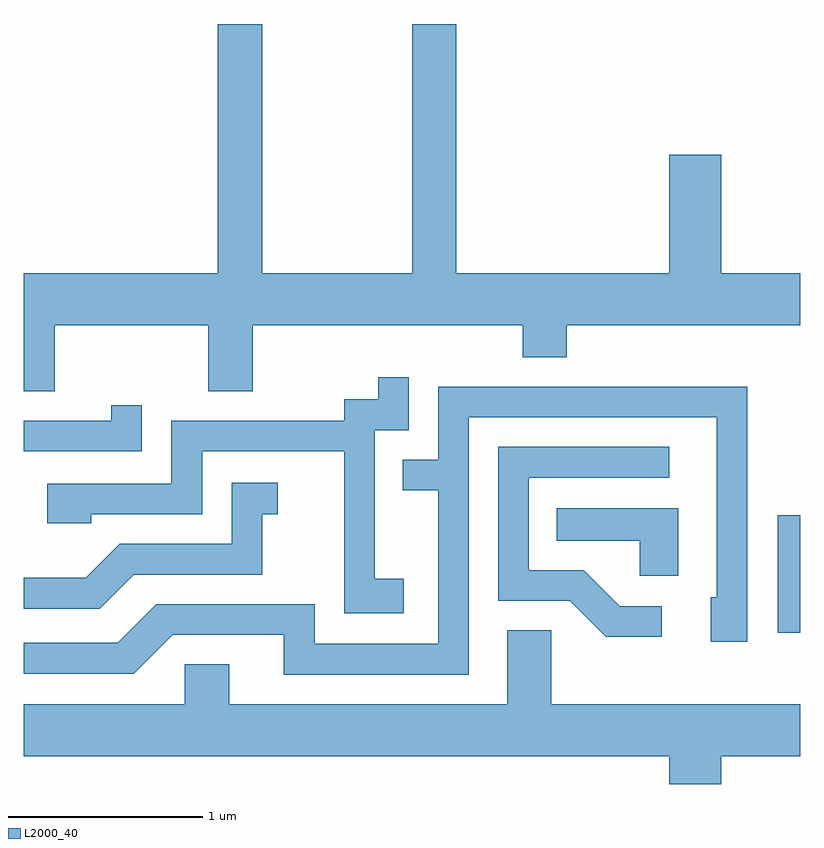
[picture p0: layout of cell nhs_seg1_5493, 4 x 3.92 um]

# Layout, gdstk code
import gdstk
lib = gdstk.Library(unit=1e-6, precision=1e-09)
def R(c, l, rs):  # rectangles x0, y0, x1, y1
    for r in rs: c.add(gdstk.rectangle(r[:2], r[2:], *l))
def P(c, l, *ps):  # polygons
    for p in ps: c.add(gdstk.Polygon(p, *l))
L2000_40 = (2000, 40)

nhs_seg1_5493 = lib.new_cell('nhs_seg1_5493')
R(nhs_seg1_5493, L2000_40, [(355.496,842.491,355.611,843.098)])
P(nhs_seg1_5493, L2000_40, [(351.769,844.076),(352.561,844.076),(352.561,843.736),(352.789,843.736),(352.789,844.076),(354.181,844.076),(354.181,843.911),(354.409,843.911),(354.409,844.076),(355.611,844.076),(355.611,844.344),(355.204,844.344),(355.204,844.954),(354.936,844.954),(354.936,844.344),(353.839,844.344),(353.839,845.629),(353.611,845.629),(353.611,844.344),(352.839,844.344),(352.839,845.629),(352.611,845.629),(352.611,844.344),(351.611,844.344),(351.611,843.736),(351.769,843.736)],
  [(353.569,842.769),(353.419,842.769),(353.419,843.536),(353.594,843.536),(353.594,843.808),(353.436,843.808),(353.436,843.694),(353.261,843.694),(353.261,843.584),(352.371,843.584),(352.371,843.259),(351.731,843.259),(351.731,843.056),(351.959,843.056),(351.959,843.101),(352.529,843.101),(352.529,843.426),(353.261,843.426),(353.261,842.591),(353.569,842.591)],
  [(353.904,843.601),(355.181,843.601),(355.181,842.674),(355.151,842.674),(355.151,842.446),(355.339,842.446),(355.339,843.759),(353.746,843.759),(353.746,843.384),(353.563,843.384),(353.563,843.226),(353.746,843.226),(353.746,842.434),(353.109,842.434),(353.109,842.639),(352.294,842.639),(352.094,842.439),(351.611,842.439),(351.611,842.281),(352.177,842.281),(352.377,842.481),(352.951,842.481),(352.951,842.276),(353.904,842.276)],
  [(352.219,843.663),(352.061,843.663),(352.061,843.584),(351.611,843.584),(351.611,843.426),(352.219,843.426)],
  [(354.898,842.629),(354.682,842.629),(354.497,842.814),(354.214,842.814),(354.214,843.291),(354.938,843.291),(354.938,843.449),(354.056,843.449),(354.056,842.656),(354.424,842.656),(354.609,842.471),(354.898,842.471)],
  [(352.177,842.791),(352.839,842.791),(352.839,843.101),(352.918,843.101),(352.918,843.264),(352.681,843.264),(352.681,842.949),(352.104,842.949),(351.929,842.774),(351.611,842.774),(351.611,842.616),(352.002,842.616)],
  [(354.984,843.134),(354.358,843.134),(354.358,842.966),(354.786,842.966),(354.786,842.786),(354.984,842.786)],
  [(355.204,841.856),(355.611,841.856),(355.611,842.124),(354.329,842.124),(354.329,842.504),(354.101,842.504),(354.101,842.124),(352.669,842.124),(352.669,842.329),(352.441,842.329),(352.441,842.124),(351.611,842.124),(351.611,841.856),(354.936,841.856),(354.936,841.712),(355.204,841.712)])

lib.write_gds('nhs_seg1_5493.gds')
